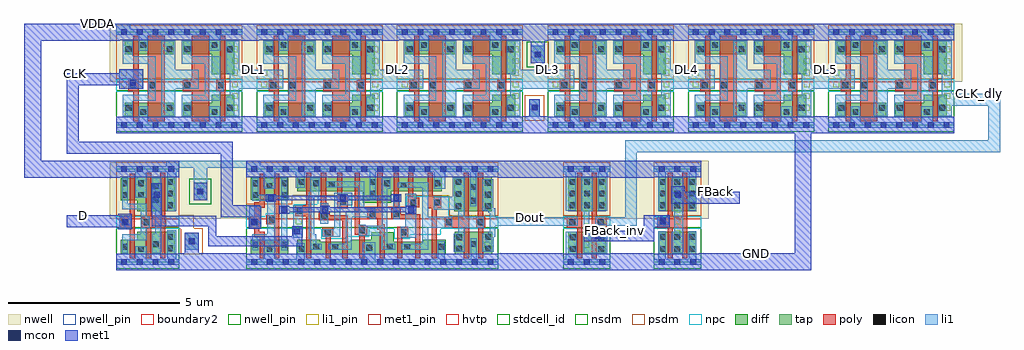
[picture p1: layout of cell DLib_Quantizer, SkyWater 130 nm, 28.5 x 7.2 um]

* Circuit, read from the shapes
.subckt DLib_Quantizer CLK CLK_dly D DL1 DL2 DL3 DL4 DL5 Dout FBack FBack_inv GND VDDA
XM1 GND D n1 GND sky130_fd_pr__nfet_01v8 w=0.42 l=0.15
XM2 GND CLK n2 GND sky130_fd_pr__nfet_01v8 w=0.42 l=0.15
XM3 sky130_fd_sc_hd__dfxtp_1_1/D n1 GND GND sky130_fd_pr__nfet_01v8 w=0.65 l=0.15 m=2
XM4 n3 n2 GND GND sky130_fd_pr__nfet_01v8 w=0.42 l=0.5
XM5 GND n3 n4 GND sky130_fd_pr__nfet_01v8 w=0.42 l=0.5
XM6 DL1 n4 GND GND sky130_fd_pr__nfet_01v8 w=0.65 l=0.15
XM7 GND CLK n5 GND sky130_fd_pr__nfet_01v8 w=0.42 l=0.15
XM8 GND DL1 n6 GND sky130_fd_pr__nfet_01v8 w=0.42 l=0.15
XM9 n7 n5 GND GND sky130_fd_pr__nfet_01v8 w=0.42 l=0.15
XM10 n8 n6 GND GND sky130_fd_pr__nfet_01v8 w=0.42 l=0.5
XM11 n9 sky130_fd_sc_hd__dfxtp_1_1/D GND GND sky130_fd_pr__nfet_01v8 w=0.42 l=0.15
XM12 n10 n5 n9 GND sky130_fd_pr__nfet_01v8 w=0.36 l=0.15
XM13 GND n8 n11 GND sky130_fd_pr__nfet_01v8 w=0.42 l=0.5
XM14 n12 n7 n10 GND sky130_fd_pr__nfet_01v8 w=0.36 l=0.15
XM15 GND n13 n12 GND sky130_fd_pr__nfet_01v8 w=0.42 l=0.15
XM16 DL2 n11 GND GND sky130_fd_pr__nfet_01v8 w=0.65 l=0.15
XM17 n13 n10 GND GND sky130_fd_pr__nfet_01v8 w=0.64 l=0.15
XM18 n14 n7 n13 GND sky130_fd_pr__nfet_01v8 w=0.36 l=0.15
XM19 GND DL2 n15 GND sky130_fd_pr__nfet_01v8 w=0.42 l=0.15
XM20 n16 n5 n14 GND sky130_fd_pr__nfet_01v8 w=0.36 l=0.15
XM21 n17 n15 GND GND sky130_fd_pr__nfet_01v8 w=0.42 l=0.5
XM22 GND n18 n16 GND sky130_fd_pr__nfet_01v8 w=0.42 l=0.15
XM23 GND n14 n18 GND sky130_fd_pr__nfet_01v8 w=0.65 l=0.15
XM24 GND n17 n19 GND sky130_fd_pr__nfet_01v8 w=0.42 l=0.5
XM25 Dout n18 GND GND sky130_fd_pr__nfet_01v8 w=0.65 l=0.15
XM26 DL3 n19 GND GND sky130_fd_pr__nfet_01v8 w=0.65 l=0.15
XM27 GND DL3 n20 GND sky130_fd_pr__nfet_01v8 w=0.42 l=0.15
XM28 n21 Dout GND GND sky130_fd_pr__nfet_01v8 w=0.65 l=0.15
XM29 n22 n20 GND GND sky130_fd_pr__nfet_01v8 w=0.42 l=0.5
XM30 FBack_inv CLK_dly n21 GND sky130_fd_pr__nfet_01v8 w=0.65 l=0.15
XM31 GND n22 n23 GND sky130_fd_pr__nfet_01v8 w=0.42 l=0.5
XM32 DL4 n23 GND GND sky130_fd_pr__nfet_01v8 w=0.65 l=0.15
XM33 FBack FBack_inv GND GND sky130_fd_pr__nfet_01v8 w=0.65 l=0.15 m=2
XM34 GND DL4 n24 GND sky130_fd_pr__nfet_01v8 w=0.42 l=0.15
XM35 n25 n24 GND GND sky130_fd_pr__nfet_01v8 w=0.42 l=0.5
XM36 GND n25 n26 GND sky130_fd_pr__nfet_01v8 w=0.42 l=0.5
XM37 DL5 n26 GND GND sky130_fd_pr__nfet_01v8 w=0.65 l=0.15
XM38 GND DL5 n27 GND sky130_fd_pr__nfet_01v8 w=0.42 l=0.15
XM39 n28 n27 GND GND sky130_fd_pr__nfet_01v8 w=0.42 l=0.5
XM40 GND n28 n29 GND sky130_fd_pr__nfet_01v8 w=0.42 l=0.5
XM41 CLK_dly n29 GND GND sky130_fd_pr__nfet_01v8 w=0.65 l=0.15
XM42 VDDA D n1 VDDA sky130_fd_pr__pfet_01v8_hvt w=0.64 l=0.15
XM43 VDDA CLK n2 VDDA sky130_fd_pr__pfet_01v8_hvt w=0.42 l=0.15
XM44 sky130_fd_sc_hd__dfxtp_1_1/D n1 VDDA VDDA sky130_fd_pr__pfet_01v8_hvt w=1 l=0.15 m=2
XM45 n3 n2 VDDA VDDA sky130_fd_pr__pfet_01v8_hvt w=0.42 l=0.5
XM46 VDDA n3 n4 VDDA sky130_fd_pr__pfet_01v8_hvt w=0.42 l=0.5
XM47 DL1 n4 VDDA VDDA sky130_fd_pr__pfet_01v8_hvt w=1 l=0.15
XM48 VDDA CLK n5 VDDA sky130_fd_pr__pfet_01v8_hvt w=0.64 l=0.15
XM49 VDDA DL1 n6 VDDA sky130_fd_pr__pfet_01v8_hvt w=0.42 l=0.15
XM50 n7 n5 VDDA VDDA sky130_fd_pr__pfet_01v8_hvt w=0.64 l=0.15
XM51 n8 n6 VDDA VDDA sky130_fd_pr__pfet_01v8_hvt w=0.42 l=0.5
XM52 n9 sky130_fd_sc_hd__dfxtp_1_1/D VDDA VDDA sky130_fd_pr__pfet_01v8_hvt w=0.42 l=0.15
XM53 n10 n7 n9 VDDA sky130_fd_pr__pfet_01v8_hvt w=0.42 l=0.15
XM54 VDDA n8 n11 VDDA sky130_fd_pr__pfet_01v8_hvt w=0.42 l=0.5
XM55 n30 n5 n10 VDDA sky130_fd_pr__pfet_01v8_hvt w=0.42 l=0.15
XM56 VDDA n13 n30 VDDA sky130_fd_pr__pfet_01v8_hvt w=0.42 l=0.15
XM57 DL2 n11 VDDA VDDA sky130_fd_pr__pfet_01v8_hvt w=1 l=0.15
XM58 n13 n10 VDDA VDDA sky130_fd_pr__pfet_01v8_hvt w=0.75 l=0.15
XM59 n14 n5 n13 VDDA sky130_fd_pr__pfet_01v8_hvt w=0.42 l=0.15
XM60 n31 n7 n14 VDDA sky130_fd_pr__pfet_01v8_hvt w=0.42 l=0.15
XM61 VDDA DL2 n15 VDDA sky130_fd_pr__pfet_01v8_hvt w=0.42 l=0.15
XM62 VDDA n18 n31 VDDA sky130_fd_pr__pfet_01v8_hvt w=0.42 l=0.15
XM63 n17 n15 VDDA VDDA sky130_fd_pr__pfet_01v8_hvt w=0.42 l=0.5
XM64 VDDA n14 n18 VDDA sky130_fd_pr__pfet_01v8_hvt w=1 l=0.15
XM65 VDDA n17 n19 VDDA sky130_fd_pr__pfet_01v8_hvt w=0.42 l=0.5
XM66 Dout n18 VDDA VDDA sky130_fd_pr__pfet_01v8_hvt w=1 l=0.15
XM67 DL3 n19 VDDA VDDA sky130_fd_pr__pfet_01v8_hvt w=1 l=0.15
XM68 VDDA DL3 n20 VDDA sky130_fd_pr__pfet_01v8_hvt w=0.42 l=0.15
XM69 FBack_inv Dout VDDA VDDA sky130_fd_pr__pfet_01v8_hvt w=1 l=0.15
XM70 n22 n20 VDDA VDDA sky130_fd_pr__pfet_01v8_hvt w=0.42 l=0.5
XM71 VDDA CLK_dly FBack_inv VDDA sky130_fd_pr__pfet_01v8_hvt w=1 l=0.15
XM72 VDDA n22 n23 VDDA sky130_fd_pr__pfet_01v8_hvt w=0.42 l=0.5
XM73 DL4 n23 VDDA VDDA sky130_fd_pr__pfet_01v8_hvt w=1 l=0.15
XM74 FBack FBack_inv VDDA VDDA sky130_fd_pr__pfet_01v8_hvt w=1 l=0.15 m=2
XM75 VDDA DL4 n24 VDDA sky130_fd_pr__pfet_01v8_hvt w=0.42 l=0.15
XM76 n25 n24 VDDA VDDA sky130_fd_pr__pfet_01v8_hvt w=0.42 l=0.5
XM77 VDDA n25 n26 VDDA sky130_fd_pr__pfet_01v8_hvt w=0.42 l=0.5
XM78 DL5 n26 VDDA VDDA sky130_fd_pr__pfet_01v8_hvt w=1 l=0.15
XM79 VDDA DL5 n27 VDDA sky130_fd_pr__pfet_01v8_hvt w=0.42 l=0.15
XM80 n28 n27 VDDA VDDA sky130_fd_pr__pfet_01v8_hvt w=0.42 l=0.5
XM81 VDDA n28 n29 VDDA sky130_fd_pr__pfet_01v8_hvt w=0.42 l=0.5
XM82 CLK_dly n29 VDDA VDDA sky130_fd_pr__pfet_01v8_hvt w=1 l=0.15
.ends

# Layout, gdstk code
import gdstk
lib = gdstk.Library(unit=1e-6, precision=1e-09)
def R(c, l, rs):  # rectangles x0, y0, x1, y1
    for r in rs: c.add(gdstk.rectangle(r[:2], r[2:], *l))
def A(c, l, x, y, w, h, nx, ny, dx, dy):  # array of equal rectangles
    R(c, l, [(x+i*dx, y+j*dy, x+i*dx+w, y+j*dy+h) for i in range(nx) for j in range(ny)])
def P(c, l, *ps):  # polygons
    for p in ps: c.add(gdstk.Polygon(p, *l))
nwell_pin = (64, 16)
nwell = (64, 20)
diff = (65, 20)
tap = (65, 44)
poly = (66, 20)
licon = (66, 44)
li1_pin = (67, 16)
li1 = (67, 20)
mcon = (67, 44)
met1_pin = (68, 16)
met1 = (68, 20)
hvtp = (78, 44)
stdcell_id = (81, 4)
nsdm = (93, 44)
psdm = (94, 20)
npc = (95, 20)
pwell_pin = (122, 16)
boundary2 = (236, 0)

sky130_fd_sc_hd__buf_2 = lib.new_cell('sky130_fd_sc_hd__buf_2')
R(sky130_fd_sc_hd__buf_2, nwell_pin, [(0.145,2.635,0.315,2.805)])
R(sky130_fd_sc_hd__buf_2, nwell, [(-0.19,1.305,2.03,2.91)])
P(sky130_fd_sc_hd__buf_2, diff, [(1.705,2.485),(0.62,2.485),(0.62,2.445),(0.135,2.445),(0.135,1.805),(0.62,1.805),(0.62,1.485),(1.705,1.485)],
  [(1.705,0.885),(0.62,0.885),(0.62,0.655),(0.135,0.655),(0.135,0.235),(1.705,0.235)])
P(sky130_fd_sc_hd__buf_2, poly, [(1.44,2.615),(1.29,2.615),(1.29,1.325),(1.02,1.325),(1.02,2.615),(0.87,2.615),(0.87,1.325),(0.755,1.325),(0.755,0.995),(0.87,0.995),(0.87,0.105),(1.02,0.105),(1.02,0.995),(1.29,0.995),(1.29,0.105),(1.44,0.105)],
  [(0.545,2.575),(0.395,2.575),(0.395,1.325),(0.135,1.325),(0.135,0.995),(0.395,0.995),(0.395,0.105),(0.545,0.105)])
A(sky130_fd_sc_hd__buf_2, licon, 1.49, 1.575, 0.17, 0.17, 1, 3, 0, 0.34)
R(sky130_fd_sc_hd__buf_2, licon, [(0.64,0.295,0.81,0.465), (1.49,0.315,1.66,0.485), (0.175,0.36,0.345,0.53), (1.07,0.445,1.24,0.615), (1.49,0.655,1.66,0.825), (0.185,1.075,0.355,1.245), (0.805,1.075,0.975,1.245), (1.07,1.73,1.24,1.9), (0.175,1.875,0.345,2.045), (0.64,1.875,0.81,2.045), (1.07,2.135,1.24,2.305), (0.175,2.215,0.345,2.385), (0.64,2.215,0.81,2.385)])
R(sky130_fd_sc_hd__buf_2, li1_pin, [(0.145,-0.085,0.315,0.085), (1.06,0.425,1.23,0.595), (0.145,1.105,0.315,1.275), (1.06,1.785,1.23,1.955), (1.06,2.125,1.23,2.295), (0.145,2.635,0.315,2.805)])
R(sky130_fd_sc_hd__buf_2, li1, [(0.085,0.985,0.44,1.355)])
P(sky130_fd_sc_hd__buf_2, li1, [(0.975,1.325),(0.89,1.325),(0.89,1.705),(0.345,1.705),(0.345,2.465),(0.175,2.465),(0.175,1.535),(0.72,1.535),(0.72,0.805),(0.175,0.805),(0.175,0.255),(0.345,0.255),(0.345,0.635),(0.89,0.635),(0.89,0.995),(0.975,0.995)],
  [(1.315,2.465),(1.06,2.465),(1.06,1.56),(1.145,1.56),(1.145,0.83),(1.06,0.83),(1.06,0.255),(1.315,0.255)],
  [(1.84,2.805),(0,2.805),(0,2.635),(0.56,2.635),(0.56,1.875),(0.89,1.875),(0.89,2.635),(1.49,2.635),(1.49,1.485),(1.75,1.485),(1.75,2.635),(1.84,2.635)],
  [(1.84,0.085),(1.75,0.085),(1.75,0.925),(1.49,0.925),(1.49,0.085),(0.89,0.085),(0.89,0.465),(0.56,0.465),(0.56,0.085),(0,0.085),(0,-0.085),(1.84,-0.085)])
A(sky130_fd_sc_hd__buf_2, mcon, 0.145, -0.085, 0.17, 0.17, 4, 2, 0.46, 2.72)
R(sky130_fd_sc_hd__buf_2, met1_pin, [(0.145,-0.085,0.315,0.085), (0.145,2.635,0.315,2.805)])
R(sky130_fd_sc_hd__buf_2, hvtp, [(0,1.25,1.84,2.72)])
R(sky130_fd_sc_hd__buf_2, stdcell_id, [(0,0,1.84,2.72)])
R(sky130_fd_sc_hd__buf_2, nsdm, [(0,-0.19,1.84,1.015)])
R(sky130_fd_sc_hd__buf_2, psdm, [(0,1.355,1.84,2.91)])
R(sky130_fd_sc_hd__buf_2, npc, [(0,0.975,1.84,1.345)])
R(sky130_fd_sc_hd__buf_2, pwell_pin, [(0.145,-0.085,0.315,0.085)])
R(sky130_fd_sc_hd__buf_2, boundary2, [(0,0,1.84,2.72)])
sky130_fd_sc_hd__buf_2.add(gdstk.FlexPath([(0,0),(1.84,0)], 0.48, ends="flush", simple_path=True, layer=68, datatype=20))  # met1
sky130_fd_sc_hd__buf_2.add(gdstk.FlexPath([(0,2.72),(1.84,2.72)], 0.48, ends="flush", simple_path=True, layer=68, datatype=20))  # met1
sky130_fd_sc_hd__buf_2.add(gdstk.Label('VPWR', (0.23,2.72), layer=68, texttype=5))
sky130_fd_sc_hd__buf_2.add(gdstk.Label('VGND', (0.23,0), layer=68, texttype=5))
sky130_fd_sc_hd__buf_2.add(gdstk.Label('VPWR', (0.23,2.72), layer=67, texttype=5))
sky130_fd_sc_hd__buf_2.add(gdstk.Label('VGND', (0.23,0), layer=67, texttype=5))
sky130_fd_sc_hd__buf_2.add(gdstk.Label('X', (1.145,0.51), layer=67, texttype=5))
sky130_fd_sc_hd__buf_2.add(gdstk.Label('X', (1.145,1.87), layer=67, texttype=5))
sky130_fd_sc_hd__buf_2.add(gdstk.Label('X', (1.145,2.21), layer=67, texttype=5))
sky130_fd_sc_hd__buf_2.add(gdstk.Label('A', (0.23,1.19), layer=67, texttype=5))
sky130_fd_sc_hd__buf_2.add(gdstk.Label('VPB', (0.23,2.72), layer=64, texttype=5))
sky130_fd_sc_hd__buf_2.add(gdstk.Label('VNB', (0.23,0), layer=64, texttype=59))
sky130_fd_sc_hd__buf_2.add(gdstk.Label('buf_2', (0,0), layer=83, texttype=44))

sky130_fd_sc_hd__dfxtp_1 = lib.new_cell('sky130_fd_sc_hd__dfxtp_1')
R(sky130_fd_sc_hd__dfxtp_1, nwell_pin, [(0.145,2.635,0.315,2.805), (0.145,2.635,0.315,2.805)])
R(sky130_fd_sc_hd__dfxtp_1, nwell, [(-0.19,1.305,7.55,2.91)])
R(sky130_fd_sc_hd__dfxtp_1, diff, [(0.135,0.235,1.225,0.655), (6.095,0.235,7.185,0.885), (6.075,1.485,7.175,2.485), (0.135,1.815,1.225,2.455)])
P(sky130_fd_sc_hd__dfxtp_1, diff, [(5.71,2.485),(1.495,2.485),(1.495,2.065),(3.395,2.065),(3.395,1.735),(4.23,1.735),(4.23,2.065),(5.71,2.065)],
  [(5.82,0.655),(5.16,0.655),(5.16,0.595),(4.3,0.595),(4.3,0.875),(3.65,0.875),(3.65,0.655),(3.055,0.655),(3.055,0.595),(2.155,0.595),(2.155,0.655),(1.495,0.655),(1.495,0.235),(5.82,0.235)])
P(sky130_fd_sc_hd__dfxtp_1, poly, [(3.54,1.065),(3.32,1.065),(3.32,2.615),(3.17,2.615),(3.17,0.795),(3.305,0.795),(3.305,0.105),(3.455,0.105),(3.455,0.795),(3.54,0.795)],
  [(2.545,1.005),(2.215,1.005),(2.215,0.735),(2.315,0.735),(2.315,0.105),(2.465,0.105),(2.465,0.735),(2.545,0.735)],
  [(1.905,2.615),(1.755,2.615),(1.755,1.665),(1.43,1.665),(1.43,1.335),(1.755,1.335),(1.755,0.105),(1.905,0.105)],
  [(2.96,1.365),(2.445,1.365),(2.445,1.485),(2.33,1.485),(2.33,2.615),(2.18,2.615),(2.18,1.485),(2.115,1.485),(2.115,1.215),(2.81,1.215),(2.81,0.105),(2.96,0.105)],
  [(2.96,1.905),(2.805,1.905),(2.805,2.615),(2.655,2.615),(2.655,1.575),(2.96,1.575)],
  [(5.7,1.905),(5.445,1.905),(5.445,2.615),(5.295,2.615),(5.295,1.575),(5.41,1.575),(5.41,0.105),(5.56,0.105),(5.56,1.575),(5.7,1.575)],
  [(5.05,1.875),(4.875,1.875),(4.875,2.615),(4.725,2.615),(4.725,1.875),(4.72,1.875),(4.72,1.605),(5.05,1.605)],
  [(0.965,2.585),(0.815,2.585),(0.815,1.37),(0.59,1.37),(0.59,1.1),(0.815,1.1),(0.815,0.105),(0.965,0.105)],
  [(5.085,1.395),(4.51,1.395),(4.51,1.575),(4.455,1.575),(4.455,2.615),(4.305,2.615),(4.305,1.575),(4.24,1.575),(4.24,1.245),(4.935,1.245),(4.935,0.105),(5.085,0.105)],
  [(0.545,0.88),(0.38,0.88),(0.38,1.59),(0.545,1.59),(0.545,2.585),(0.395,2.585),(0.395,1.74),(0.23,1.74),(0.23,1.325),(0.11,1.325),(0.11,0.995),(0.23,0.995),(0.23,0.73),(0.395,0.73),(0.395,0.105),(0.545,0.105)],
  [(6.985,1.325),(6.915,1.325),(6.915,2.615),(6.765,2.615),(6.765,1.325),(6.715,1.325),(6.715,0.995),(6.775,0.995),(6.775,0.105),(6.925,0.105),(6.925,0.995),(6.985,0.995)],
  [(6.505,1.325),(6.495,1.325),(6.495,2.615),(6.345,2.615),(6.345,1.325),(5.795,1.325),(5.795,0.995),(6.355,0.995),(6.355,0.105),(6.505,0.105)],
  [(4.725,1.035),(4.405,1.035),(4.405,0.105),(4.555,0.105),(4.555,0.705),(4.725,0.705)],
  [(4.05,1.1),(3.98,1.1),(3.98,2.615),(3.83,2.615),(3.83,1.545),(3.53,1.545),(3.53,1.275),(3.83,1.275),(3.83,0.95),(3.9,0.95),(3.9,0.105),(4.05,0.105)])
A(sky130_fd_sc_hd__dfxtp_1, licon, 6.115, 1.545, 0.17, 0.17, 1, 3, 0, 0.355)
A(sky130_fd_sc_hd__dfxtp_1, licon, 6.965, 1.545, 0.17, 0.17, 1, 3, 0, 0.34)
R(sky130_fd_sc_hd__dfxtp_1, licon, [(0.595,0.295,0.765,0.465), (1.535,0.295,1.705,0.465), (6.135,0.3,6.305,0.47), (6.975,0.31,7.145,0.48), (3.51,0.335,3.68,0.505), (1.96,0.365,2.13,0.535), (2.515,0.365,2.685,0.535), (4.105,0.365,4.275,0.535), (4.62,0.365,4.79,0.535), (5.61,0.365,5.78,0.535), (0.175,0.425,0.345,0.595), (1.015,0.425,1.185,0.595), (6.555,0.445,6.725,0.615), (6.135,0.64,6.305,0.81), (6.975,0.65,7.145,0.82), (2.295,0.785,2.465,0.955), (4.505,0.785,4.675,0.955), (3.29,0.845,3.46,1.015), (0.16,1.075,0.33,1.245), (5.845,1.075,6.015,1.245), (6.765,1.075,6.935,1.245), (0.67,1.15,0.84,1.32), (2.195,1.265,2.365,1.435), (3.61,1.325,3.78,1.495), (4.29,1.325,4.46,1.495), (1.48,1.415,1.65,1.585), (2.74,1.655,2.91,1.825), (4.8,1.655,4.97,1.825), (5.48,1.655,5.65,1.825), (6.545,1.705,6.715,1.875), (0.175,1.875,0.345,2.045), (1.015,1.875,1.185,2.045), (3.61,1.915,3.78,2.085), (6.545,2.105,6.715,2.275), (0.595,2.135,0.765,2.305), (4.505,2.165,4.675,2.335), (2.415,2.19,2.585,2.36), (0.175,2.215,0.345,2.385), (1.015,2.215,1.185,2.385), (1.955,2.215,2.125,2.385), (4.03,2.215,4.2,2.385), (5.5,2.215,5.67,2.385), (1.535,2.255,1.705,2.425), (3.61,2.255,3.78,2.425)])
R(sky130_fd_sc_hd__dfxtp_1, li1_pin, [(6.95,0.425,7.12,0.595), (0.145,1.105,0.315,1.275), (1.445,1.105,1.615,1.275)])
R(sky130_fd_sc_hd__dfxtp_1, li1, [(1.015,0.345,1.2,2.465), (1.37,0.715,1.65,1.665), (0.09,0.975,0.44,1.625), (2.16,1.125,2.4,1.72), (4.29,1.245,4.48,1.965)])
P(sky130_fd_sc_hd__dfxtp_1, li1, [(6.015,1.325),(5.31,1.325),(5.31,2.335),(4.425,2.335),(4.425,2.165),(5.14,2.165),(5.14,0.535),(4.525,0.535),(4.525,0.365),(5.31,0.365),(5.31,0.995),(6.015,0.995)],
  [(6.935,1.325),(6.375,1.325),(6.375,2.465),(6.035,2.465),(6.035,1.905),(5.48,1.905),(5.48,1.53),(6.185,1.53),(6.185,0.825),(6.055,0.825),(6.055,0.3),(6.385,0.3),(6.385,0.995),(6.935,0.995)],
  [(7.275,1.575),(7.215,1.575),(7.215,2.42),(6.885,2.42),(6.885,1.495),(7.06,1.495),(7.06,1.445),(7.105,1.445),(7.105,0.865),(7.05,0.865),(7.05,0.825),(6.895,0.825),(6.895,0.305),(7.225,0.305),(7.225,0.74),(7.275,0.74)],
  [(4.97,1.995),(4.65,1.995),(4.65,1.035),(4.505,1.035),(4.505,0.705),(4.97,0.705)],
  [(0.84,1.965),(0.345,1.965),(0.345,2.465),(0.175,2.465),(0.175,1.795),(0.61,1.795),(0.61,0.805),(0.175,0.805),(0.175,0.345),(0.345,0.345),(0.345,0.635),(0.84,0.635)],
  [(7.36,2.805),(0,2.805),(0,2.635),(0.515,2.635),(0.515,2.135),(0.845,2.135),(0.845,2.635),(1.44,2.635),(1.44,2.175),(1.705,2.175),(1.705,2.635),(3.61,2.635),(3.61,1.835),(3.78,1.835),(3.78,2.635),(5.49,2.635),(5.49,2.135),(5.805,2.135),(5.805,2.635),(6.545,2.635),(6.545,1.625),(6.715,1.625),(6.715,2.635),(7.36,2.635)],
  [(7.36,0.085),(6.725,0.085),(6.725,0.695),(6.555,0.695),(6.555,0.085),(5.795,0.085),(5.795,0.615),(5.585,0.615),(5.585,0.085),(3.77,0.085),(3.77,0.585),(3.4,0.585),(3.4,0.085),(1.705,0.085),(1.705,0.545),(1.455,0.545),(1.455,0.085),(0.845,0.085),(0.845,0.465),(0.515,0.465),(0.515,0.085),(0,0.085),(0,-0.085),(7.36,-0.085)],
  [(2.21,0.535),(2.045,0.535),(2.045,0.805),(1.99,0.805),(1.99,1.91),(2.125,1.91),(2.125,2.465),(1.875,2.465),(1.875,2.04),(1.82,2.04),(1.82,0.675),(1.875,0.675),(1.875,0.365),(2.21,0.365)],
  [(3.1,2.02),(2.57,2.02),(2.57,0.955),(2.215,0.955),(2.215,0.735),(2.74,0.735),(2.74,1.655),(3.1,1.655)],
  [(3.78,1.575),(3.44,1.575),(3.44,2.36),(2.335,2.36),(2.335,2.19),(3.27,2.19),(3.27,1.485),(2.91,1.485),(2.91,0.535),(2.405,0.535),(2.405,0.365),(3.08,0.365),(3.08,1.315),(3.61,1.315),(3.61,1.245),(3.78,1.245)],
  [(4.355,0.535),(4.12,0.535),(4.12,2.135),(4.2,2.135),(4.2,2.465),(3.95,2.465),(3.95,1.065),(3.49,1.065),(3.49,1.095),(3.29,1.095),(3.29,0.765),(3.95,0.765),(3.95,0.365),(4.355,0.365)])
A(sky130_fd_sc_hd__dfxtp_1, mcon, 0.145, -0.085, 0.17, 0.17, 16, 2, 0.46, 2.72)
R(sky130_fd_sc_hd__dfxtp_1, mcon, [(1.025,1.445,1.195,1.615), (2.215,1.445,2.385,1.615), (4.735,1.445,4.905,1.615), (0.63,1.785,0.8,1.955), (2.73,1.785,2.9,1.955), (4.3,1.785,4.47,1.955)])
R(sky130_fd_sc_hd__dfxtp_1, met1_pin, [(0.145,-0.085,0.315,0.085), (0.145,2.635,0.315,2.805)])
R(sky130_fd_sc_hd__dfxtp_1, met1, [(0,-0.24,7.36,0.24), (0,2.48,7.36,2.96)])
P(sky130_fd_sc_hd__dfxtp_1, met1, [(4.53,1.985),(4.24,1.985),(4.24,1.94),(2.96,1.94),(2.96,1.985),(2.67,1.985),(2.67,1.94),(0.86,1.94),(0.86,1.985),(0.57,1.985),(0.57,1.755),(0.86,1.755),(0.86,1.8),(2.67,1.8),(2.67,1.755),(2.96,1.755),(2.96,1.8),(4.24,1.8),(4.24,1.755),(4.53,1.755)],
  [(4.965,1.645),(4.675,1.645),(4.675,1.6),(2.445,1.6),(2.445,1.645),(2.155,1.645),(2.155,1.6),(1.255,1.6),(1.255,1.645),(0.965,1.645),(0.965,1.415),(1.255,1.415),(1.255,1.46),(2.155,1.46),(2.155,1.415),(2.445,1.415),(2.445,1.46),(4.675,1.46),(4.675,1.415),(4.965,1.415)])
R(sky130_fd_sc_hd__dfxtp_1, hvtp, [(0,1.25,7.36,2.72)])
R(sky130_fd_sc_hd__dfxtp_1, stdcell_id, [(0,0,7.36,2.72)])
R(sky130_fd_sc_hd__dfxtp_1, nsdm, [(0,-0.19,7.36,1.015)])
P(sky130_fd_sc_hd__dfxtp_1, psdm, [(7.36,2.91),(0,2.91),(0,1.685),(1.35,1.685),(1.35,1.935),(3.24,1.935),(3.24,1.605),(4.665,1.605),(4.665,1.935),(5.93,1.935),(5.93,1.355),(7.36,1.355)])
P(sky130_fd_sc_hd__dfxtp_1, npc, [(7.36,1.345),(5.91,1.345),(5.91,1.925),(4.675,1.925),(4.675,1.595),(3.085,1.595),(3.085,1.925),(2.095,1.925),(2.095,1.685),(1.38,1.685),(1.38,1.42),(0.565,1.42),(0.565,1.345),(0,1.345),(0,0.975),(2.195,0.975),(2.195,0.685),(2.905,0.685),(2.905,0.745),(3.59,0.745),(3.59,0.975),(4.32,0.975),(4.32,0.685),(4.775,0.685),(4.775,0.795),(5.675,0.795),(5.675,0.975),(7.36,0.975)])
R(sky130_fd_sc_hd__dfxtp_1, pwell_pin, [(0.145,-0.085,0.315,0.085), (0.145,-0.085,0.315,0.085)])
R(sky130_fd_sc_hd__dfxtp_1, boundary2, [(0,0,7.36,2.72)])
sky130_fd_sc_hd__dfxtp_1.add(gdstk.Label('dfxtp_1', (0,0), layer=83, texttype=44))
sky130_fd_sc_hd__dfxtp_1.add(gdstk.Label('VPB', (0.23,2.72), layer=64, texttype=5))
sky130_fd_sc_hd__dfxtp_1.add(gdstk.Label('VPB', (0.23,2.72), layer=64, texttype=5))
sky130_fd_sc_hd__dfxtp_1.add(gdstk.Label('VNB', (0.23,0), layer=64, texttype=59))
sky130_fd_sc_hd__dfxtp_1.add(gdstk.Label('VNB', (0.23,0), layer=64, texttype=59))
sky130_fd_sc_hd__dfxtp_1.add(gdstk.Label('Q', (7.035,0.51), layer=67, texttype=5))
sky130_fd_sc_hd__dfxtp_1.add(gdstk.Label('CLK', (0.23,1.19), layer=67, texttype=5))
sky130_fd_sc_hd__dfxtp_1.add(gdstk.Label('D', (1.535,1.19), layer=67, texttype=5))
sky130_fd_sc_hd__dfxtp_1.add(gdstk.Label('VPWR', (0.23,2.72), layer=68, texttype=5))
sky130_fd_sc_hd__dfxtp_1.add(gdstk.Label('VGND', (0.23,0), layer=68, texttype=5))

sky130_fd_sc_hd__nand2_1 = lib.new_cell('sky130_fd_sc_hd__nand2_1')
R(sky130_fd_sc_hd__nand2_1, nwell_pin, [(0.14,2.635,0.31,2.805)])
R(sky130_fd_sc_hd__nand2_1, nwell, [(-0.19,1.305,1.57,2.91)])
R(sky130_fd_sc_hd__nand2_1, diff, [(0.155,0.235,1.245,0.885), (0.155,1.485,1.245,2.485)])
P(sky130_fd_sc_hd__nand2_1, poly, [(1.275,1.325),(0.985,1.325),(0.985,2.615),(0.835,2.615),(0.835,0.105),(0.985,0.105),(0.985,0.995),(1.275,0.995)],
  [(0.565,2.615),(0.415,2.615),(0.415,1.325),(0.105,1.325),(0.105,0.995),(0.415,0.995),(0.415,0.105),(0.565,0.105)])
A(sky130_fd_sc_hd__nand2_1, licon, 0.195, 1.575, 0.17, 0.17, 3, 3, 0.42, 0.34)
R(sky130_fd_sc_hd__nand2_1, licon, [(0.195,0.295,0.365,0.465), (1.035,0.295,1.205,0.465), (0.195,0.635,0.365,0.805), (1.035,0.635,1.205,0.805), (0.18,1.075,0.35,1.245), (1.02,1.075,1.19,1.245)])
A(sky130_fd_sc_hd__nand2_1, li1_pin, 0.14, 1.105, 0.17, 0.17, 3, 1, 0.46, 0)
R(sky130_fd_sc_hd__nand2_1, li1_pin, [(0.6,0.425,0.77,0.595), (0.6,0.765,0.77,0.935)])
R(sky130_fd_sc_hd__nand2_1, li1, [(0.095,1.055,0.43,1.325), (0.94,1.075,1.275,1.325)])
P(sky130_fd_sc_hd__nand2_1, li1, [(1.38,0.085),(0.395,0.085),(0.395,0.885),(0.085,0.885),(0.085,0.085),(0,0.085),(0,-0.085),(1.38,-0.085)],
  [(1.38,2.805),(0,2.805),(0,2.635),(0.085,2.635),(0.085,1.495),(0.365,1.495),(0.365,2.635),(1.035,2.635),(1.035,1.495),(1.295,1.495),(1.295,2.635),(1.38,2.635)],
  [(1.295,0.885),(0.77,0.885),(0.77,1.485),(0.865,1.485),(0.865,2.465),(0.535,2.465),(0.535,1.485),(0.6,1.485),(0.6,0.255),(1.295,0.255)])
A(sky130_fd_sc_hd__nand2_1, mcon, 0.145, -0.085, 0.17, 0.17, 3, 2, 0.46, 2.72)
R(sky130_fd_sc_hd__nand2_1, met1_pin, [(0.14,-0.085,0.31,0.085), (0.14,2.635,0.31,2.805)])
R(sky130_fd_sc_hd__nand2_1, hvtp, [(0,1.25,1.38,2.72)])
R(sky130_fd_sc_hd__nand2_1, stdcell_id, [(0,0,1.38,2.72)])
R(sky130_fd_sc_hd__nand2_1, nsdm, [(0,-0.19,1.38,1.015)])
R(sky130_fd_sc_hd__nand2_1, psdm, [(0,1.355,1.38,2.91)])
R(sky130_fd_sc_hd__nand2_1, npc, [(0,0.975,1.38,1.345)])
R(sky130_fd_sc_hd__nand2_1, pwell_pin, [(0.14,-0.085,0.31,0.085)])
R(sky130_fd_sc_hd__nand2_1, boundary2, [(0,0,1.38,2.72)])
sky130_fd_sc_hd__nand2_1.add(gdstk.FlexPath([(0,2.72),(1.38,2.72)], 0.48, ends="flush", simple_path=True, layer=68, datatype=20))  # met1
sky130_fd_sc_hd__nand2_1.add(gdstk.FlexPath([(0,0),(1.38,0)], 0.48, ends="flush", simple_path=True, layer=68, datatype=20))  # met1
sky130_fd_sc_hd__nand2_1.add(gdstk.Label('Y', (0.685,0.51), layer=67, texttype=5))
sky130_fd_sc_hd__nand2_1.add(gdstk.Label('Y', (0.685,0.85), layer=67, texttype=5))
sky130_fd_sc_hd__nand2_1.add(gdstk.Label('Y', (0.685,1.19), layer=67, texttype=5))
sky130_fd_sc_hd__nand2_1.add(gdstk.Label('B', (0.225,1.19), layer=67, texttype=5))
sky130_fd_sc_hd__nand2_1.add(gdstk.Label('A', (1.145,1.19), layer=67, texttype=5))
sky130_fd_sc_hd__nand2_1.add(gdstk.Label('VPB', (0.225,2.72), layer=64, texttype=5))
sky130_fd_sc_hd__nand2_1.add(gdstk.Label('VNB', (0.225,0), layer=64, texttype=59))
sky130_fd_sc_hd__nand2_1.add(gdstk.Label('VGND', (0.23,0), layer=68, texttype=5))
sky130_fd_sc_hd__nand2_1.add(gdstk.Label('VPWR', (0.225,2.72), layer=68, texttype=5))
sky130_fd_sc_hd__nand2_1.add(gdstk.Label('nand2_1', (0,0), layer=83, texttype=44))

sky130_fd_sc_hd__inv_2 = lib.new_cell('sky130_fd_sc_hd__inv_2')
R(sky130_fd_sc_hd__inv_2, nwell_pin, [(0.145,2.635,0.315,2.805)])
R(sky130_fd_sc_hd__inv_2, nwell, [(-0.19,1.305,1.57,2.91)])
R(sky130_fd_sc_hd__inv_2, diff, [(0.145,0.235,1.235,0.885), (0.145,1.485,1.235,2.485)])
P(sky130_fd_sc_hd__inv_2, poly, [(0.975,2.615),(0.825,2.615),(0.825,1.325),(0.555,1.325),(0.555,2.615),(0.405,2.615),(0.405,1.325),(0.105,1.325),(0.105,0.995),(0.405,0.995),(0.405,0.105),(0.555,0.105),(0.555,0.995),(0.825,0.995),(0.825,0.105),(0.975,0.105)])
A(sky130_fd_sc_hd__inv_2, licon, 0.185, 0.295, 0.17, 0.17, 3, 2, 0.42, 0.36)
A(sky130_fd_sc_hd__inv_2, licon, 0.185, 1.575, 0.17, 0.17, 3, 3, 0.42, 0.34)
R(sky130_fd_sc_hd__inv_2, licon, [(0.185,1.075,0.355,1.245)])
A(sky130_fd_sc_hd__inv_2, li1_pin, 0.605, 0.765, 0.17, 0.17, 1, 3, 0, 0.34)
R(sky130_fd_sc_hd__inv_2, li1_pin, [(0.145,1.105,0.315,1.275)])
R(sky130_fd_sc_hd__inv_2, li1, [(0.105,1.075,0.435,1.325)])
P(sky130_fd_sc_hd__inv_2, li1, [(1.38,2.805),(0,2.805),(0,2.635),(0.125,2.635),(0.125,1.495),(0.355,1.495),(0.355,2.635),(1.025,2.635),(1.025,1.495),(1.235,1.495),(1.235,2.635),(1.38,2.635)],
  [(0.855,2.465),(0.525,2.465),(0.525,1.485),(0.605,1.485),(0.605,0.885),(0.525,0.885),(0.525,0.255),(0.855,0.255)],
  [(1.38,0.085),(1.235,0.085),(1.235,0.905),(1.025,0.905),(1.025,0.085),(0.355,0.085),(0.355,0.905),(0.125,0.905),(0.125,0.085),(0,0.085),(0,-0.085),(1.38,-0.085)])
A(sky130_fd_sc_hd__inv_2, mcon, 0.145, -0.085, 0.17, 0.17, 3, 2, 0.46, 2.72)
R(sky130_fd_sc_hd__inv_2, met1_pin, [(0.145,-0.085,0.315,0.085), (0.145,2.635,0.315,2.805)])
R(sky130_fd_sc_hd__inv_2, hvtp, [(0,1.25,1.38,2.72)])
R(sky130_fd_sc_hd__inv_2, stdcell_id, [(0,0,1.38,2.72)])
R(sky130_fd_sc_hd__inv_2, nsdm, [(0,-0.19,1.38,1.015)])
R(sky130_fd_sc_hd__inv_2, psdm, [(0,1.355,1.38,2.91)])
R(sky130_fd_sc_hd__inv_2, npc, [(0,0.975,1.38,1.345)])
R(sky130_fd_sc_hd__inv_2, pwell_pin, [(0.145,-0.085,0.315,0.085)])
R(sky130_fd_sc_hd__inv_2, boundary2, [(0,0,1.38,2.72)])
sky130_fd_sc_hd__inv_2.add(gdstk.FlexPath([(0,2.72),(1.38,2.72)], 0.48, ends="flush", simple_path=True, layer=68, datatype=20))  # met1
sky130_fd_sc_hd__inv_2.add(gdstk.FlexPath([(0,0),(1.38,0)], 0.48, ends="flush", simple_path=True, layer=68, datatype=20))  # met1
sky130_fd_sc_hd__inv_2.add(gdstk.Label('A', (0.23,1.19), layer=67, texttype=5))
sky130_fd_sc_hd__inv_2.add(gdstk.Label('Y', (0.69,0.85), layer=67, texttype=5))
sky130_fd_sc_hd__inv_2.add(gdstk.Label('Y', (0.69,1.53), layer=67, texttype=5))
sky130_fd_sc_hd__inv_2.add(gdstk.Label('Y', (0.69,1.19), layer=67, texttype=5))
sky130_fd_sc_hd__inv_2.add(gdstk.Label('VPB', (0.23,2.72), layer=64, texttype=5))
sky130_fd_sc_hd__inv_2.add(gdstk.Label('VNB', (0.23,0), layer=64, texttype=59))
sky130_fd_sc_hd__inv_2.add(gdstk.Label('VPWR', (0.23,2.72), layer=68, texttype=5))
sky130_fd_sc_hd__inv_2.add(gdstk.Label('VGND', (0.23,0), layer=68, texttype=5))
sky130_fd_sc_hd__inv_2.add(gdstk.Label('inv_2', (0,0), layer=83, texttype=44))

sky130_fd_sc_hd__dlygate = lib.new_cell('sky130_fd_sc_hd__dlygate4sd3_1')
R(sky130_fd_sc_hd__dlygate, nwell_pin, [(0.145,2.635,0.315,2.805)])
R(sky130_fd_sc_hd__dlygate, nwell, [(-0.19,1.305,3.87,2.91)])
R(sky130_fd_sc_hd__dlygate, diff, [(0.245,0.235,1.685,0.655), (0.245,2.065,1.685,2.485)])
P(sky130_fd_sc_hd__dlygate, diff, [(3.45,0.885),(2.79,0.885),(2.79,0.655),(1.955,0.655),(1.955,0.235),(3.45,0.235)],
  [(3.45,2.485),(1.955,2.485),(1.955,2.065),(2.79,2.065),(2.79,1.485),(3.45,1.485)])
R(sky130_fd_sc_hd__dlygate, poly, [(0.925,0.105,1.425,2.615)])
P(sky130_fd_sc_hd__dlygate, poly, [(2.715,2.615),(2.215,2.615),(2.215,1.325),(1.945,1.325),(1.945,0.995),(2.215,0.995),(2.215,0.105),(2.715,0.105)],
  [(3.195,1.325),(3.19,1.325),(3.19,2.615),(3.04,2.615),(3.04,1.325),(2.925,1.325),(2.925,0.995),(3.04,0.995),(3.04,0.105),(3.19,0.105),(3.19,0.995),(3.195,0.995)],
  [(0.655,2.615),(0.505,2.615),(0.505,1.325),(0.355,1.325),(0.355,0.995),(0.505,0.995),(0.505,0.105),(0.655,0.105)])
R(sky130_fd_sc_hd__dlygate, licon, [(0.705,0.295,0.875,0.465), (2.79,0.295,2.96,0.465), (0.285,0.425,0.455,0.595), (1.475,0.425,1.645,0.595), (1.995,0.425,2.165,0.595), (3.24,0.425,3.41,0.595), (0.405,1.075,0.575,1.245), (0.975,1.075,1.145,1.245), (1.995,1.075,2.165,1.245), (2.975,1.075,3.145,1.245), (0.285,2.125,0.455,2.295), (1.475,2.125,1.645,2.295), (1.995,2.125,2.165,2.295), (3.24,2.125,3.41,2.295), (0.705,2.255,0.875,2.425), (2.79,2.255,2.96,2.425)])
A(sky130_fd_sc_hd__dlygate, li1_pin, 3.385, 0.425, 0.17, 0.17, 1, 6, 0, 0.34)
R(sky130_fd_sc_hd__dlygate, li1_pin, [(0.145,1.105,0.315,1.275), (0.605,1.105,0.775,1.275), (0.145,1.445,0.315,1.615), (0.605,1.445,0.775,1.615)])
R(sky130_fd_sc_hd__dlygate, li1, [(0.085,1.055,0.775,1.615)])
P(sky130_fd_sc_hd__dlygate, li1, [(3.68,0.085),(3.04,0.085),(3.04,0.545),(2.715,0.545),(2.715,0.085),(0.925,0.085),(0.925,0.545),(0.655,0.545),(0.655,0.085),(0,0.085),(0,-0.085),(3.68,-0.085)],
  [(3.68,2.805),(0,2.805),(0,2.635),(0.655,2.635),(0.655,2.175),(0.925,2.175),(0.925,2.635),(2.715,2.635),(2.715,2.175),(3.04,2.175),(3.04,2.635),(3.68,2.635)],
  [(1.155,2.005),(0.485,2.005),(0.485,2.465),(0.2,2.465),(0.2,1.785),(0.945,1.785),(0.945,0.885),(0.2,0.885),(0.2,0.255),(0.485,0.255),(0.485,0.715),(1.155,0.715)],
  [(2.42,1.615),(1.725,1.615),(1.725,2.465),(1.325,2.465),(1.325,0.255),(1.725,0.255),(1.725,1.055),(2.42,1.055)],
  [(3.145,1.325),(3.04,1.325),(3.04,2.005),(2.195,2.005),(2.195,2.465),(1.915,2.465),(1.915,1.785),(2.59,1.785),(2.59,0.885),(1.915,0.885),(1.915,0.255),(2.195,0.255),(2.195,0.715),(3.04,0.715),(3.04,0.995),(3.145,0.995)],
  [(3.595,2.465),(3.21,2.465),(3.21,1.495),(3.315,1.495),(3.315,0.825),(3.21,0.825),(3.21,0.255),(3.595,0.255)])
A(sky130_fd_sc_hd__dlygate, mcon, 0.145, -0.085, 0.17, 0.17, 8, 2, 0.46, 2.72)
R(sky130_fd_sc_hd__dlygate, met1_pin, [(0.145,-0.085,0.315,0.085), (0.145,2.635,0.315,2.805)])
R(sky130_fd_sc_hd__dlygate, hvtp, [(0,1.25,3.68,2.72)])
R(sky130_fd_sc_hd__dlygate, stdcell_id, [(0,0,3.68,2.72)])
R(sky130_fd_sc_hd__dlygate, nsdm, [(0,-0.19,3.68,1.015)])
R(sky130_fd_sc_hd__dlygate, psdm, [(0,1.355,3.68,2.91)])
R(sky130_fd_sc_hd__dlygate, npc, [(0,0.975,3.68,1.345)])
R(sky130_fd_sc_hd__dlygate, pwell_pin, [(0.145,-0.085,0.315,0.085)])
R(sky130_fd_sc_hd__dlygate, boundary2, [(0,0,3.68,2.72)])
sky130_fd_sc_hd__dlygate.add(gdstk.FlexPath([(0,2.72),(3.68,2.72)], 0.48, ends="flush", simple_path=True, layer=68, datatype=20))  # met1
sky130_fd_sc_hd__dlygate.add(gdstk.FlexPath([(0,0),(3.68,0)], 0.48, ends="flush", simple_path=True, layer=68, datatype=20))  # met1
sky130_fd_sc_hd__dlygate.add(gdstk.Label('A', (0.23,1.19), layer=67, texttype=5))
sky130_fd_sc_hd__dlygate.add(gdstk.Label('X', (3.47,0.85), layer=67, texttype=5))
sky130_fd_sc_hd__dlygate.add(gdstk.Label('A', (0.23,1.53), layer=67, texttype=5))
sky130_fd_sc_hd__dlygate.add(gdstk.Label('X', (3.47,0.51), layer=67, texttype=5))
sky130_fd_sc_hd__dlygate.add(gdstk.Label('A', (0.69,1.19), layer=67, texttype=5))
sky130_fd_sc_hd__dlygate.add(gdstk.Label('A', (0.69,1.53), layer=67, texttype=5))
sky130_fd_sc_hd__dlygate.add(gdstk.Label('X', (3.47,2.21), layer=67, texttype=5))
sky130_fd_sc_hd__dlygate.add(gdstk.Label('X', (3.47,1.53), layer=67, texttype=5))
sky130_fd_sc_hd__dlygate.add(gdstk.Label('X', (3.47,1.87), layer=67, texttype=5))
sky130_fd_sc_hd__dlygate.add(gdstk.Label('X', (3.47,1.19), layer=67, texttype=5))
sky130_fd_sc_hd__dlygate.add(gdstk.Label('VPB', (0.23,2.72), layer=64, texttype=5))
sky130_fd_sc_hd__dlygate.add(gdstk.Label('VNB', (0.23,0), layer=64, texttype=59))
sky130_fd_sc_hd__dlygate.add(gdstk.Label('VGND', (0.23,0), layer=68, texttype=5))
sky130_fd_sc_hd__dlygate.add(gdstk.Label('VPWR', (0.23,2.72), layer=68, texttype=5))
sky130_fd_sc_hd__dlygate.add(gdstk.Label('dlygate4sd3_1', (0,0), layer=83, texttype=44))

dlib_quantizer = lib.new_cell('DLib_Quantizer')
R(dlib_quantizer, nwell, [(3.45,-2.05,20.95,-0.6), (4.6,-0.6,20.95,-0.35), (3.45,1.95,28.35,3.25), (3.65,3.25,28.35,3.65)])
R(dlib_quantizer, tap, [(5.65,-2.95,6.05,-2.45), (5.9,-1.5,6.3,-1), (15.7,0.94,16.01,1.44), (15.75,2.5,16.15,3)])
R(dlib_quantizer, licon, [(5.765,-2.785,5.935,-2.615), (6.015,-1.335,6.185,-1.165), (15.78,1.12,15.95,1.29), (15.865,2.665,16.035,2.835)])
R(dlib_quantizer, li1, [(5.65,-2.95,6.05,-2.45), (17.6,-2.65,17.8,-2.45), (8.84,-2.5,9.01,-2.33), (3.8,-2.25,4,-2.05), (14.65,-2.25,17.1,-2), (17.95,-2.25,18.85,-2), (7.58,-2.22,7.75,-2.05), (19.5,-2.2,19.7,-2), (18.5,-2,18.85,-0.1), (5.9,-1.5,6.3,-0.55), (19.95,-1.45,20.15,-1.25), (4.74,-1.43,4.91,-1.26), (5.1,-0.55,7.85,-0.35), (18.5,-0.1,29.45,0.25), (29.1,0.25,29.45,1.25), (15.7,0.94,16.01,1.44), (27.95,1.25,29.45,1.6), (7.1,1.75,8.25,2.3), (11.3,1.75,12.25,2.3), (15.4,1.75,16.45,2.3), (19.8,1.75,20.75,2.3), (23.85,1.75,24.6,2.3), (4.05,1.84,4.22,2.01), (15.75,2.5,16.15,3), (3.65,3.4,4.05,3.65)])
R(dlib_quantizer, mcon, [(5.765,-2.785,5.935,-2.615), (17.615,-2.635,17.785,-2.465), (8.84,-2.5,9.01,-2.33), (3.815,-2.235,3.985,-2.065), (7.58,-2.22,7.75,-2.05), (19.515,-2.185,19.685,-2.015), (19.965,-1.435,20.135,-1.265), (4.74,-1.43,4.91,-1.26), (6.015,-1.335,6.185,-1.165), (15.78,1.12,15.95,1.29), (4.05,1.84,4.22,2.01), (15.865,2.665,16.035,2.835)])
R(dlib_quantizer, met1, [(5.45,-3.55,7.45,-3.05), (14.8,-3.55,16.7,-3.05), (18.05,-3.55,19.35,-3.05), (20.465,-3.55,23.935,-3.075), (20.65,-3.075,23.935,-3.05), (5.65,-3.05,6.05,-2.45), (23.46,-3.05,23.935,0.735), (6.33,-2.85,9.07,-2.55), (17.3,-2.7,19.35,-2.4), (6.33,-2.55,6.56,-2.26), (8.79,-2.55,9.07,-2.26), (19.05,-2.4,19.35,-2.3), (3.7,-2.35,4.1,-2.3), (7.51,-2.34,7.86,-2), (2.2,-2.3,4.1,-1.95), (19.05,-2.3,19.8,-1.95), (4.68,-2.26,6.56,-1.96), (6.7,-2,7.86,-1.69), (4.68,-1.96,4.97,-1.86), (3.7,-1.95,4.1,-1.9), (4.67,-1.86,4.97,-1.01), (6.7,-1.69,7.85,-1.65), (6.7,-1.65,7.05,-0.15), (19.85,-1.6,21.85,-1.25), (5.9,-1.5,6.3,-1), (19.85,-1.25,20.25,-1.1), (0.95,-0.85,3.75,-0.35), (14.8,-0.85,16.7,-0.35), (18.05,-0.85,19.35,-0.35), (0.95,-0.35,1.45,3.15), (2.2,-0.15,7.05,0.2), (2.2,0.2,2.55,1.85), (7.3,0.45,7.75,0.95), (11.4,0.45,11.85,0.95), (15.5,0.45,16.25,0.95), (19.9,0.45,20.35,0.95), (24,0.45,24.45,0.95), (15.7,0.95,16.01,1.44), (3.73,1.75,4.43,1.85), (2.2,1.85,4.43,2.2), (3.73,2.2,4.43,2.32), (15.75,2.5,16.15,3.15), (0.95,3.15,3.75,3.65), (7.3,3.15,7.8,3.65), (11.4,3.15,11.9,3.65), (15.5,3.15,16.25,3.65), (19.9,3.15,20.35,3.65), (24,3.15,24.45,3.65)])
R(dlib_quantizer, nsdm, [(5.775,-1.625,6.425,-0.875), (15.625,2.375,16.275,3.125)])
R(dlib_quantizer, psdm, [(5.525,-3.075,6.175,-2.33), (5.47,-2.33,6.175,-2.325), (5.47,-2.325,5.905,-2.3), (5.09,-2.3,5.905,-1.95), (5.47,-1.95,5.905,-1.945), (15.575,0.815,16.135,1.565)])
dlib_quantizer.add(gdstk.Reference(sky130_fd_sc_hd__buf_2, (3.64,-3.31)))
dlib_quantizer.add(gdstk.Reference(sky130_fd_sc_hd__dfxtp_1, (7.44,-3.31)))
dlib_quantizer.add(gdstk.Reference(sky130_fd_sc_hd__nand2_1, (16.69,-3.31)))
dlib_quantizer.add(gdstk.Reference(sky130_fd_sc_hd__inv_2, (19.34,-3.31)))
dlib_quantizer.add(gdstk.Reference(sky130_fd_sc_hd__dlygate, (3.64,0.69)))
dlib_quantizer.add(gdstk.Reference(sky130_fd_sc_hd__dlygate, (7.74,0.69)))
dlib_quantizer.add(gdstk.Reference(sky130_fd_sc_hd__dlygate, (11.84,0.69)))
dlib_quantizer.add(gdstk.Reference(sky130_fd_sc_hd__dlygate, (16.24,0.69)))
dlib_quantizer.add(gdstk.Reference(sky130_fd_sc_hd__dlygate, (20.34,0.69)))
dlib_quantizer.add(gdstk.Reference(sky130_fd_sc_hd__dlygate, (24.44,0.69)))
dlib_quantizer.add(gdstk.Label('CLK_dly', (28.85,1.6), layer=67, texttype=5))
dlib_quantizer.add(gdstk.Label('FBack_inv', (18.2,-2.4), layer=68, texttype=5))
dlib_quantizer.add(gdstk.Label('DL1', (7.65,2.3), layer=67, texttype=5))
dlib_quantizer.add(gdstk.Label('DL2', (11.85,2.3), layer=67, texttype=5))
dlib_quantizer.add(gdstk.Label('DL3', (16.25,2.3), layer=67, texttype=5))
dlib_quantizer.add(gdstk.Label('DL4', (20.3,2.3), layer=67, texttype=5))
dlib_quantizer.add(gdstk.Label('DL5', (24.35,2.3), layer=67, texttype=5))
dlib_quantizer.add(gdstk.Label('D', (2.7,-1.95), layer=68, texttype=5))
dlib_quantizer.add(gdstk.Label('CLK', (2.45,2.2), layer=68, texttype=5))
dlib_quantizer.add(gdstk.Label('Dout', (15.75,-2), layer=67, texttype=5))
dlib_quantizer.add(gdstk.Label('FBack', (21.15,-1.25), layer=68, texttype=5))
dlib_quantizer.add(gdstk.Label('VDDA', (3.1,3.65), layer=68, texttype=5))
dlib_quantizer.add(gdstk.Label('GND', (22.35,-3.05), layer=68, texttype=5))

lib.write_gds('DLib_Quantizer.gds')
